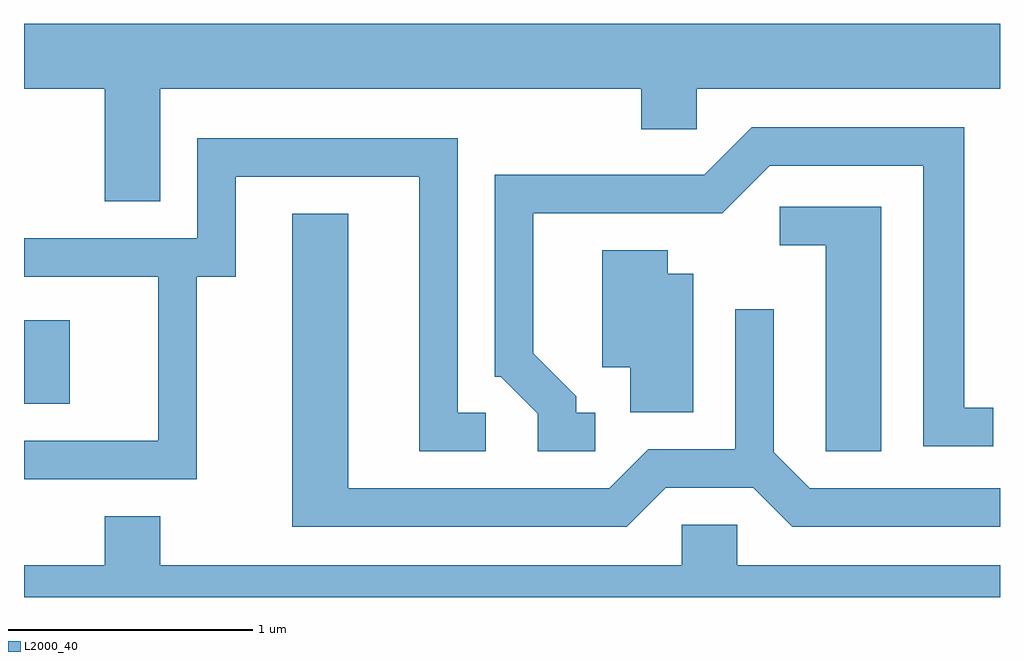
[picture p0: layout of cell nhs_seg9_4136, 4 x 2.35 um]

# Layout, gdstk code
import gdstk
lib = gdstk.Library(unit=1e-6, precision=1e-09)
def R(c, l, rs):  # rectangles x0, y0, x1, y1
    for r in rs: c.add(gdstk.rectangle(r[:2], r[2:], *l))
def P(c, l, *ps):  # polygons
    for p in ps: c.add(gdstk.Polygon(p, *l))
L2000_40 = (2000, 40)

nhs_seg9_4136 = lib.new_cell('nhs_seg9_4136')
R(nhs_seg9_4136, L2000_40, [(307.611,1957.226,307.799,1957.569)])
P(nhs_seg9_4136, L2000_40, [(308.169,1958.516),(310.141,1958.516),(310.141,1958.351),(310.369,1958.351),(310.369,1958.516),(311.611,1958.516),(311.611,1958.784),(307.611,1958.784),(307.611,1958.516),(307.941,1958.516),(307.941,1958.056),(308.169,1958.056)],
  [(309.953,1957.189),(309.874,1957.189),(309.874,1957.257),(309.699,1957.432),(309.699,1958.006),(310.472,1958.006),(310.667,1958.201),(311.296,1958.201),(311.296,1957.051),(311.583,1957.051),(311.583,1957.209),(311.464,1957.209),(311.464,1958.359),(310.594,1958.359),(310.399,1958.164),(309.541,1958.164),(309.541,1957.336),(309.564,1957.336),(309.716,1957.184),(309.716,1957.031),(309.953,1957.031)],
  [(308.319,1957.746),(308.479,1957.746),(308.479,1958.156),(309.231,1958.156),(309.231,1957.031),(309.503,1957.031),(309.503,1957.189),(309.389,1957.189),(309.389,1958.314),(308.321,1958.314),(308.321,1957.904),(307.611,1957.904),(307.611,1957.746),(308.161,1957.746),(308.161,1957.074),(307.611,1957.074),(307.611,1956.916),(308.319,1956.916)],
  [(311.124,1958.034),(310.708,1958.034),(310.708,1957.876),(310.896,1957.876),(310.896,1957.031),(311.124,1957.031)],
  [(310.242,1956.881),(310.599,1956.881),(310.759,1956.721),(311.611,1956.721),(311.611,1956.879),(310.832,1956.879),(310.684,1957.027),(310.684,1957.613),(310.526,1957.613),(310.526,1957.039),(310.169,1957.039),(310.009,1956.879),(308.939,1956.879),(308.939,1958.004),(308.711,1958.004),(308.711,1956.721),(310.082,1956.721)],
  [(310.354,1957.759),(310.249,1957.759),(310.249,1957.854),(309.981,1957.854),(309.981,1957.376),(310.096,1957.376),(310.096,1957.191),(310.354,1957.191)],
  [(311.611,1956.564),(310.534,1956.564),(310.534,1956.729),(310.306,1956.729),(310.306,1956.564),(308.169,1956.564),(308.169,1956.764),(307.941,1956.764),(307.941,1956.564),(307.611,1956.564),(307.611,1956.432),(311.611,1956.432)])

lib.write_gds('nhs_seg9_4136.gds')
